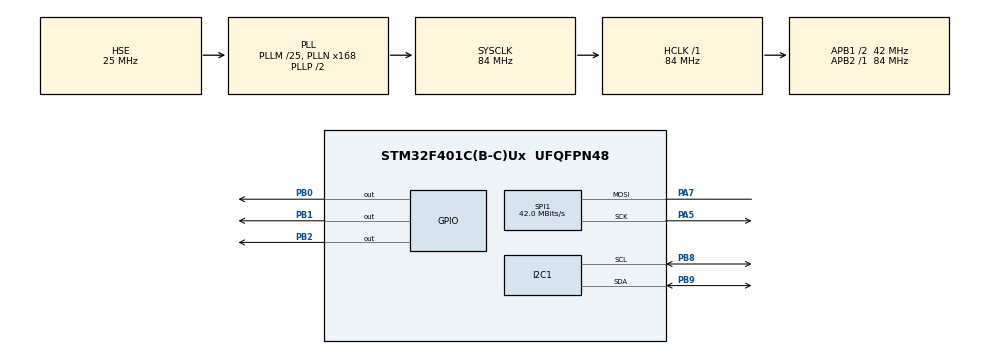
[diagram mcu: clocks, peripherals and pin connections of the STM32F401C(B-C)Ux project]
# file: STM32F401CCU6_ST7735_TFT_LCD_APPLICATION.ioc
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Dma.Request0=SPI1_TX
Dma.Request1=SPI1_RX
Dma.SPI1_RX.1.Direction=DMA_PERIPH_TO_MEMORY
Dma.SPI1_RX.1.FIFOMode=DMA_FIFOMODE_DISABLE
Dma.SPI1_RX.1.Instance=DMA2_Stream0
Dma.SPI1_RX.1.MemDataAlignment=DMA_MDATAALIGN_BYTE
Dma.SPI1_RX.1.MemInc=DMA_MINC_ENABLE
Dma.SPI1_RX.1.Mode=DMA_NORMAL
Dma.SPI1_RX.1.PeriphDataAlignment=DMA_PDATAALIGN_BYTE
Dma.SPI1_RX.1.PeriphInc=DMA_PINC_DISABLE
Dma.SPI1_RX.1.Priority=DMA_PRIORITY_LOW
Dma.SPI1_TX.0.Direction=DMA_MEMORY_TO_PERIPH
Dma.SPI1_TX.0.FIFOMode=DMA_FIFOMODE_DISABLE
Dma.SPI1_TX.0.Instance=DMA2_Stream3
Dma.SPI1_TX.0.MemDataAlignment=DMA_MDATAALIGN_BYTE
Dma.SPI1_TX.0.MemInc=DMA_MINC_ENABLE
Dma.SPI1_TX.0.Mode=DMA_NORMAL
Dma.SPI1_TX.0.PeriphDataAlignment=DMA_PDATAALIGN_BYTE
Dma.SPI1_TX.0.PeriphInc=DMA_PINC_DISABLE
Dma.SPI1_TX.0.Priority=DMA_PRIORITY_LOW
Mcu.Family=STM32F4
Mcu.Name=STM32F401C(B-C)Ux
Mcu.Package=UFQFPN48
NVIC.DMA2_Stream0_IRQn=true\:0\:0\:false\:false\:true\:false\:true\:true
NVIC.DMA2_Stream3_IRQn=true\:0\:0\:false\:false\:true\:false\:true\:true
NVIC.PriorityGroup=NVIC_PRIORITYGROUP_4
PA13.Mode=Serial_Wire
PA13.Signal=SYS_JTMS-SWDIO
PA14.Mode=Serial_Wire
PA14.Signal=SYS_JTCK-SWCLK
PA5.Mode=Simplex_Bidirectional_Master
PA5.Signal=SPI1_SCK
PA7.Mode=Simplex_Bidirectional_Master
PA7.Signal=SPI1_MOSI
PB0.PinState=GPIO_PIN_SET
PB0.Signal=GPIO_Output
PB1.PinState=GPIO_PIN_SET
PB1.Signal=GPIO_Output
PB2.PinState=GPIO_PIN_SET
PB2.Signal=GPIO_Output
PB8.Mode=I2C
PB8.Signal=I2C1_SCL
PB9.Mode=I2C
PB9.Signal=I2C1_SDA
PH0\ -\ OSC_IN.Mode=HSE-External-Oscillator
PH0\ -\ OSC_IN.Signal=RCC_OSC_IN
PH1\ -\ OSC_OUT.Mode=HSE-External-Oscillator
PH1\ -\ OSC_OUT.Signal=RCC_OSC_OUT
ProjectManager.HeapSize=0x200
ProjectManager.StackSize=0x400
ProjectManager.TargetToolchain=STM32CubeIDE
RCC.48MHZClocksFreq_Value=42000000
RCC.AHBFreq_Value=84000000
RCC.APB1CLKDivider=RCC_HCLK_DIV2
RCC.APB1Freq_Value=42000000
RCC.APB1TimFreq_Value=84000000
RCC.APB2Freq_Value=84000000
RCC.APB2TimFreq_Value=84000000
RCC.CortexFreq_Value=84000000
RCC.HCLKFreq_Value=84000000
RCC.HSE_VALUE=25000000
RCC.HSI_VALUE=16000000
RCC.LSE_VALUE=32768
RCC.PLLM=25
RCC.PLLN=168
RCC.PLLSourceVirtual=RCC_PLLSOURCE_HSE
RCC.SYSCLKFreq_VALUE=84000000
RCC.SYSCLKSource=RCC_SYSCLKSOURCE_PLLCLK
RCC.VCOOutputFreq_Value=168000000
SPI1.CalculateBaudRate=42.0 MBits/s
SPI1.Direction=SPI_DIRECTION_1LINE
SPI1.Mode=SPI_MODE_MASTER
SPI1.VirtualType=VM_MASTER
board=custom

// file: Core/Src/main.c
/* USER CODE BEGIN Header */
/**
  ******************************************************************************
  * @file           : main.c
  * @brief          : Main program body
  ******************************************************************************
  * @attention
  *
  * Copyright (c) 2024 STMicroelectronics.
  * All rights reserved.
  *
  * This software is licensed under terms that can be found in the LICENSE file
  * in the root directory of this software component.
  * If no LICENSE file comes with this software, it is provided AS-IS.
  *
  ******************************************************************************
  */
/* USER CODE END Header */
#include "main.h"

/* USER CODE BEGIN Includes */
#include "ST7735.h"
#include "string.h"
#include "DS1307.h"
#include "stdlib.h"
/* USER CODE END Includes */

/* USER CODE BEGIN PD */
RTC_TypeDef_t Set_value,Now;
uint8_t  minute,secon,hours;
char data[5];
uint8_t x,y;

/* USER CODE END PD */

I2C_HandleTypeDef hi2c1;

SPI_HandleTypeDef hspi1;
DMA_HandleTypeDef hdma_spi1_tx;
DMA_HandleTypeDef hdma_spi1_rx;

void SystemClock_Config(void);
static void MX_GPIO_Init(void);
static void MX_DMA_Init(void);
static void MX_I2C1_Init(void);
static void MX_SPI1_Init(void);

int main(void)
{

  /* MCU Configuration--------------------------------------------------------*/

  /* Reset of all peripherals, Initializes the Flash interface and the Systick. */
  HAL_Init();

  /* Configure the system clock */
  SystemClock_Config();

  /* Initialize all configured peripherals */
  MX_GPIO_Init();
  MX_DMA_Init();
  MX_I2C1_Init();
  MX_SPI1_Init();
  /* USER CODE BEGIN 2 */
  DS1307_START();
  ST7735_TFT_Init(SCREEN_270_DEGREE_ROTATION);
  ST7735_Background_Colour(BLACK_COLOUR);

  ST7735_String(10,4,"DS1307 UYG",&Font16,GREEN_COLOUR,BLACK_COLOUR);
  ST7735_String(10,20,"YEAR:",&Font16,BLUE_COLOUR,BLACK_COLOUR);
  ST7735_String(10,36,"MONTH:",&Font16,YELLOW_COLOUR,BLACK_COLOUR);
  ST7735_String(10,52,"DAY:",&Font16,GREEN_COLOUR,BLACK_COLOUR);
  ST7735_String(10,68,"HOUR:",&Font16,WHITE_COLOUR,BLACK_COLOUR);
  ST7735_String(10,84,"MINUTE:",&Font16,ORANGE_COLOUR,BLACK_COLOUR);
  ST7735_String(10,100,"SECOND:",&Font16,TURQUOISE_COLOUR,BLACK_COLOUR);
  /* USER CODE END 2 */

  /* Infinite loop */
  while (1)
  {

    /* USER CODE BEGIN 3 */
	  if(DS1307_Reading(&Now)==HAL_OK)
	 	 	 {
	 	 		 minute = Now.MINUTE;
	 	 		 secon=Now.SECOND;
	 	 		 hours = Now.HOURS;
	 			sprintf(data, "%d", Now.YEAR);
	 			ST7735_String(66,20, data, &Font16, BLUE_COLOUR, BLACK_COLOUR);
	 			sprintf(data, "%d", Now.MONTH);
	 			ST7735_String(77,36, data, &Font16, YELLOW_COLOUR, BLACK_COLOUR);
	 			sprintf(data, "%d", Now.DAY);
	 			ST7735_String(55,52, data, &Font16, GREEN_COLOUR, BLACK_COLOUR);
	 			sprintf(data, "%d", Now.HOURS);
	 			ST7735_String(66,68, data, &Font16, WHITE_COLOUR, BLACK_COLOUR);
	 			sprintf(data, "%d", Now.MINUTE);
	 			ST7735_String(88,84,data, &Font16, ORANGE_COLOUR, BLACK_COLOUR);
	 			sprintf(data, "%d", Now.SECOND);
	 			if(Now.SECOND<10)
	 			ST7735_String(99,100," ", &Font16, TURQUOISE_COLOUR, BLACK_COLOUR);

	 			ST7735_String(88,100,data, &Font16, TURQUOISE_COLOUR, BLACK_COLOUR);

	 	 	 }

	 	  HAL_Delay(1000);
  }
  /* USER CODE END 3 */
}

void SystemClock_Config(void)
{
  RCC_OscInitTypeDef RCC_OscInitStruct = {0};
  RCC_ClkInitTypeDef RCC_ClkInitStruct = {0};

  /** Configure the main internal regulator output voltage
  */
  __HAL_RCC_PWR_CLK_ENABLE();
  __HAL_PWR_VOLTAGESCALING_CONFIG(PWR_REGULATOR_VOLTAGE_SCALE2);

  /** Initializes the RCC Oscillators according to the specified parameters
  * in the RCC_OscInitTypeDef structure.
  */
  RCC_OscInitStruct.OscillatorType = RCC_OSCILLATORTYPE_HSE;
  RCC_OscInitStruct.HSEState = RCC_HSE_ON;
  RCC_OscInitStruct.PLL.PLLState = RCC_PLL_ON;
  RCC_OscInitStruct.PLL.PLLSource = RCC_PLLSOURCE_HSE;
  RCC_OscInitStruct.PLL.PLLM = 25;
  RCC_OscInitStruct.PLL.PLLN = 168;
  RCC_OscInitStruct.PLL.PLLP = RCC_PLLP_DIV2;
  RCC_OscInitStruct.PLL.PLLQ = 4;
  if (HAL_RCC_OscConfig(&RCC_OscInitStruct) != HAL_OK)
  {
    Error_Handler();
  }

  /** Initializes the CPU, AHB and APB buses clocks
  */
  RCC_ClkInitStruct.ClockType = RCC_CLOCKTYPE_HCLK|RCC_CLOCKTYPE_SYSCLK
                              |RCC_CLOCKTYPE_PCLK1|RCC_CLOCKTYPE_PCLK2;
  RCC_ClkInitStruct.SYSCLKSource = RCC_SYSCLKSOURCE_PLLCLK;
  RCC_ClkInitStruct.AHBCLKDivider = RCC_SYSCLK_DIV1;
  RCC_ClkInitStruct.APB1CLKDivider = RCC_HCLK_DIV2;
  RCC_ClkInitStruct.APB2CLKDivider = RCC_HCLK_DIV1;

  if (HAL_RCC_ClockConfig(&RCC_ClkInitStruct, FLASH_LATENCY_2) != HAL_OK)
  {
    Error_Handler();
  }
}

static void MX_I2C1_Init(void)
{

  hi2c1.Instance = I2C1;
  hi2c1.Init.ClockSpeed = 100000;
  hi2c1.Init.DutyCycle = I2C_DUTYCYCLE_2;
  hi2c1.Init.OwnAddress1 = 0;
  hi2c1.Init.AddressingMode = I2C_ADDRESSINGMODE_7BIT;
  hi2c1.Init.DualAddressMode = I2C_DUALADDRESS_DISABLE;
  hi2c1.Init.OwnAddress2 = 0;
  hi2c1.Init.GeneralCallMode = I2C_GENERALCALL_DISABLE;
  hi2c1.Init.NoStretchMode = I2C_NOSTRETCH_DISABLE;
  if (HAL_I2C_Init(&hi2c1) != HAL_OK)
  {
    Error_Handler();
  }

}

static void MX_SPI1_Init(void)
{

  /* SPI1 parameter configuration*/
  hspi1.Instance = SPI1;
  hspi1.Init.Mode = SPI_MODE_MASTER;
  hspi1.Init.Direction = SPI_DIRECTION_1LINE;
  hspi1.Init.DataSize = SPI_DATASIZE_8BIT;
  hspi1.Init.CLKPolarity = SPI_POLARITY_LOW;
  hspi1.Init.CLKPhase = SPI_PHASE_1EDGE;
  hspi1.Init.NSS = SPI_NSS_SOFT;
  hspi1.Init.BaudRatePrescaler = SPI_BAUDRATEPRESCALER_2;
  hspi1.Init.FirstBit = SPI_FIRSTBIT_MSB;
  hspi1.Init.TIMode = SPI_TIMODE_DISABLE;
  hspi1.Init.CRCCalculation = SPI_CRCCALCULATION_DISABLE;
  hspi1.Init.CRCPolynomial = 10;
  if (HAL_SPI_Init(&hspi1) != HAL_OK)
  {
    Error_Handler();
  }

}

static void MX_DMA_Init(void)
{

  /* DMA controller clock enable */
  __HAL_RCC_DMA2_CLK_ENABLE();

  /* DMA interrupt init */
  /* DMA2_Stream0_IRQn interrupt configuration */
  HAL_NVIC_SetPriority(DMA2_Stream0_IRQn, 0, 0);
  HAL_NVIC_EnableIRQ(DMA2_Stream0_IRQn);
  /* DMA2_Stream3_IRQn interrupt configuration */
  HAL_NVIC_SetPriority(DMA2_Stream3_IRQn, 0, 0);
  HAL_NVIC_EnableIRQ(DMA2_Stream3_IRQn);

}

static void MX_GPIO_Init(void)
{
  GPIO_InitTypeDef GPIO_InitStruct = {0};

  /* GPIO Ports Clock Enable */
  __HAL_RCC_GPIOH_CLK_ENABLE();
  __HAL_RCC_GPIOA_CLK_ENABLE();
  __HAL_RCC_GPIOB_CLK_ENABLE();

  /*Configure GPIO pin Output Level */
  HAL_GPIO_WritePin(GPIOB, GPIO_PIN_0|GPIO_PIN_1|GPIO_PIN_2, GPIO_PIN_SET);

  /*Configure GPIO pins : PB0 PB1 PB2 */
  GPIO_InitStruct.Pin = GPIO_PIN_0|GPIO_PIN_1|GPIO_PIN_2;
  GPIO_InitStruct.Mode = GPIO_MODE_OUTPUT_PP;
  GPIO_InitStruct.Pull = GPIO_NOPULL;
  GPIO_InitStruct.Speed = GPIO_SPEED_FREQ_LOW;
  HAL_GPIO_Init(GPIOB, &GPIO_InitStruct);

}

void Error_Handler(void)
{
  __disable_irq();
  while (1)
  {
  }
}
